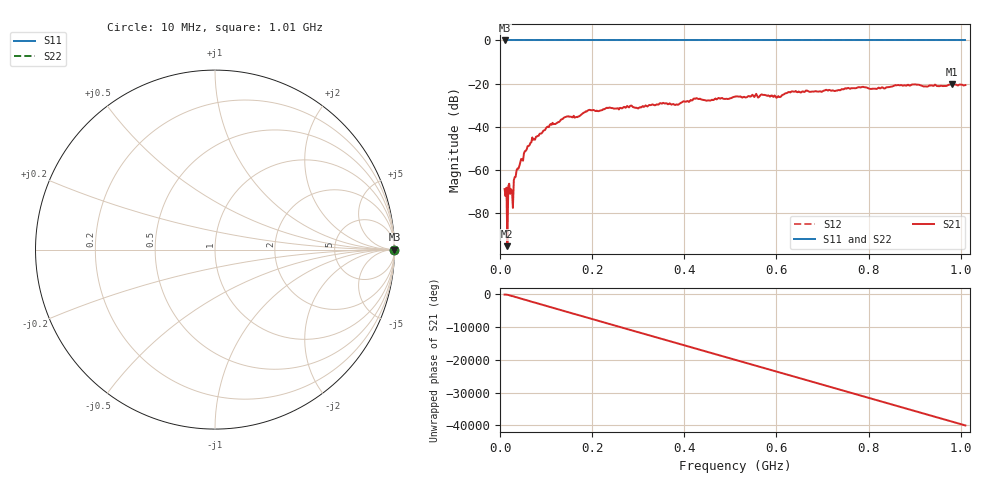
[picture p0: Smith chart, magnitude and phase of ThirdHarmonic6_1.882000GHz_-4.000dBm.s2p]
! 8/16/2025 10:43:59 PM
! C:\ANRITSUVNA\TEMP\TEMP.S2P
! CHANNEL.1
! TR.MEASUREMENT
! RAW.DATA
! RF.CORRECTION.OFF
! AVERAGING.OFF
! IF.BANDWIDTH: 5KHZ
! SWEEPTYPE:  FREQ.SWEEP(Linear)
! Reference Plane Port Info
! PORT:  PORT1  PORT2
! DISTANCE:  0  m  0  m
! TIME:  0  s  0  s
! PHASE.OFFSET:  0  deg.  0  deg.
! LOSS:  0  dB  0  dB
! REF.LOSS:  0  dB  0  dB
! REF.FREQ:  0  Hz  0  Hz
! Power Info
! POWER:  -20  dBm  -20  dBm
! EFF.POWER:  -20  dBm  -20  dBm
! SOURCE.ATTEN:  0  dB  0  dB
! TEST.ATTEN:  0  dB  0  dB
# GHZ S RI R 50.0
! FREQ.GHZ  S11RE  S11IM  S21RE  S21IM  S12RE  S12IM  S22RE  S22IM
!; PortSelection: Port_12
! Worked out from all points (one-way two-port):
!   501 points, 10 MHz to 1.01 GHz, reference 50 ohm
!   highest |S21| = -20.27 dB at 980 MHz (marker M1); lowest = -95.2 dB at 16 MHz (marker M2)
!   lowest |S11| = 0.0 dB at 10 MHz (marker M3)
!   |S11| at or under -10 dB: nowhere
!   |S22| runs from 0.0 to 0.0 dB; largest |S21 - S12| = 1.1
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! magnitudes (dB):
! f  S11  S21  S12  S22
! 10 MHz  0.0  -68.7  0.0  0.0
! 12 MHz  0.0  -72.0  0.0  0.0
! 16 MHz  0.0  -95.2  0.0  0.0
! 20 MHz  0.0  -66.3  0.0  0.0
! 22 MHz  0.0  -71.0  0.0  0.0
! 26 MHz  0.0  -69.7  0.0  0.0
! 32 MHz  0.0  -63.2  0.0  0.0
! 34 MHz  0.0  -63.0  0.0  0.0
! 40 MHz  0.0  -59.3  0.0  0.0
! 56 MHz  0.0  -51.1  0.0  0.0
! 70 MHz  0.0  -44.9  0.0  0.0
! 112 MHz  0.0  -39.0  0.0  0.0
! 178 MHz  0.0  -34.0  0.0  0.0
! 194 MHz  0.0  -32.1  0.0  0.0
! 344 MHz  0.0  -29.7  0.0  0.0
! 510 MHz  0.0  -26.0  0.0  0.0
! 604 MHz  0.0  -25.7  0.0  0.0
! 630 MHz  0.0  -24.0  0.0  0.0
! 678 MHz  0.0  -23.6  0.0  0.0
! 844 MHz  0.0  -21.6  0.0  0.0
! 980 MHz  0.0  -20.3  0.0  0.0
! 1.01 GHz  0.0  -20.6  0.0  0.0
